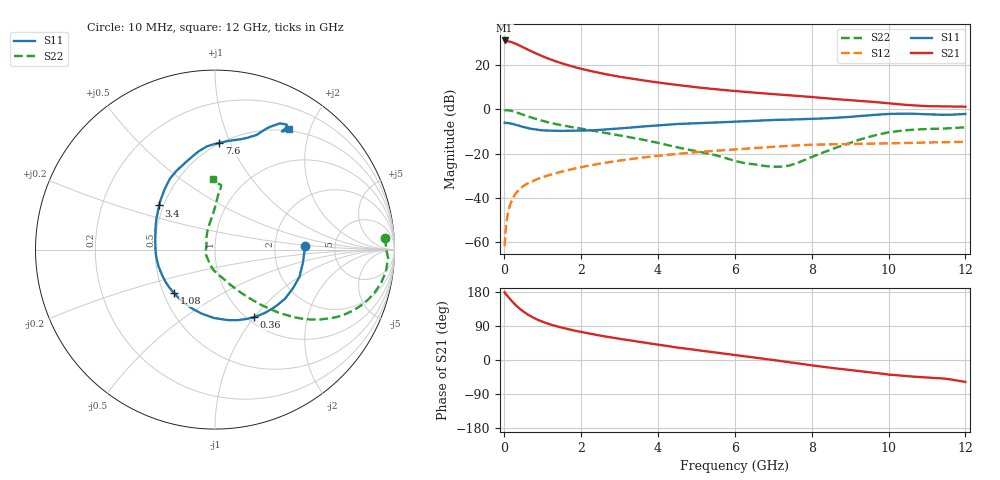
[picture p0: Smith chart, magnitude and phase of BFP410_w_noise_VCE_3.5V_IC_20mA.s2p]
! Infineon Technologies  Discrete & RF Semiconductors
! BFP410
! VCE =  3.5 V,  IC =  20 mA
! Common Emitter S-Parameters:  Nov 2015
# GHz  S  MA  R  50
!  f  S11  S21  S12  S22
! GHz  MAG  ANG  MAG  ANG  MAG  ANG  MAG  ANG
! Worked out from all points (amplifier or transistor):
!   243 points, 10 MHz to 12 GHz, reference 50 ohm
!   highest |S21| = 31.3 dB at 10 MHz (marker M1)
!   |S21| within 3 dB of that: start of sweep to 482.7 MHz
!   unconditionally stable (mu >= 1): start of sweep to 16.87 MHz; 1.889 GHz to end of sweep
!   at 240 MHz: K = 0.28, MSG = 34.9 dB, |S12| = -39.7 dB
!   at 1.84 GHz: K = 0.99, MSG = 22.9 dB, |S12| = -26.7 dB
!   at 12 GHz: K = 1.02, MAG = 7.0 dB, |S12| = -14.7 dB
!   lowest NFmin = 1.70 dB at 900 MHz
!   S11 on the Smith chart (normalised r, x): 10 MHz: 3.01, +0.17; 360 MHz: 1.08, -1.00; 1.08 GHz: 0.57, -0.31; 3.4 GHz: 0.47, +0.28; 7.6 GHz: 0.49, +0.91; 12 GHz: 0.48, +1.69
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0.01  0.5025 2.4  36.52 178.7  0.0008 95.5  0.9497 3.9
0.02  0.4969 -2.2  36.09 176.5  0.0011 94.5  0.9538 0.1
0.055  0.4947 -9.2  35.48 172.2  0.0026 87.4  0.9649 -3.2
0.1  0.4947 -17.7  35.08 167.0  0.0046 81.5  0.9599 -7.3
0.19  0.4773 -33.2  33.38 156.4  0.0084 76.9  0.9272 -14.0
0.3  0.4501 -51.2  30.73 144.6  0.0125 72.0  0.8697 -21.1
0.36  0.4345 -60.0  29.11 139.0  0.0144 69.7  0.8352 -24.3
0.5  0.4007 -79.0  25.42 127.5  0.0184 65.8  0.7553 -30.3
0.6  0.3816 -90.6  23 120.5  0.0208 63.9  0.7038 -33.6
0.7  0.3648 -101.5  20.88 114.7  0.023 62.6  0.658 -36.3
0.9  0.344 -119.5  17.38 104.9  0.0272 60.9  0.5824 -40.4
1.08  0.3333 -133.1  14.94 98.0  0.0308 60.1  0.5284 -43.1
1.48  0.3268 -156.3  11.21 85.8  0.0387 58.6  0.4415 -47.7
2.02  0.3311 -178.9  8.264 73.6  0.0497 56.1  0.3654 -52.3
2.6  0.3504 161.5  6.389 62.5  0.0614 52.3  0.2974 -57.3
3.4  0.3966 141.7  4.852 49.8  0.0774 46.4  0.2236 -65.1
4.1  0.4431 128.4  3.972 39.0  0.0911 40.7  0.1673 -74.4
6.1  0.5336 103.8  2.57 12.0  0.126 23.6  0.0652 -128.7
7.6  0.5951 87.7  2.039 -8.3  0.1531 9.5  0.0599 142.5
8.2  0.6207 79.6  1.845 -16.7  0.16 2.6  0.0983 117.0
10.2  0.7961 61.6  1.328 -40.1  0.1721 -13.7  0.3188 85.9
12  0.7886 58.3  1.154 -58.0  0.1851 -29.5  0.3946 91.4
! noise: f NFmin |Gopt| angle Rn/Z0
0.45  1.73  0.14  -155  0.16
0.9  1.7  0.14  -156  0.16
1.8  1.84  0.19  -141  0.17
2.4  1.84  0.24  -124  0.23
5.5  2.72  0.43  -103  0.42
10  3.83  0.7  -46  2.5
